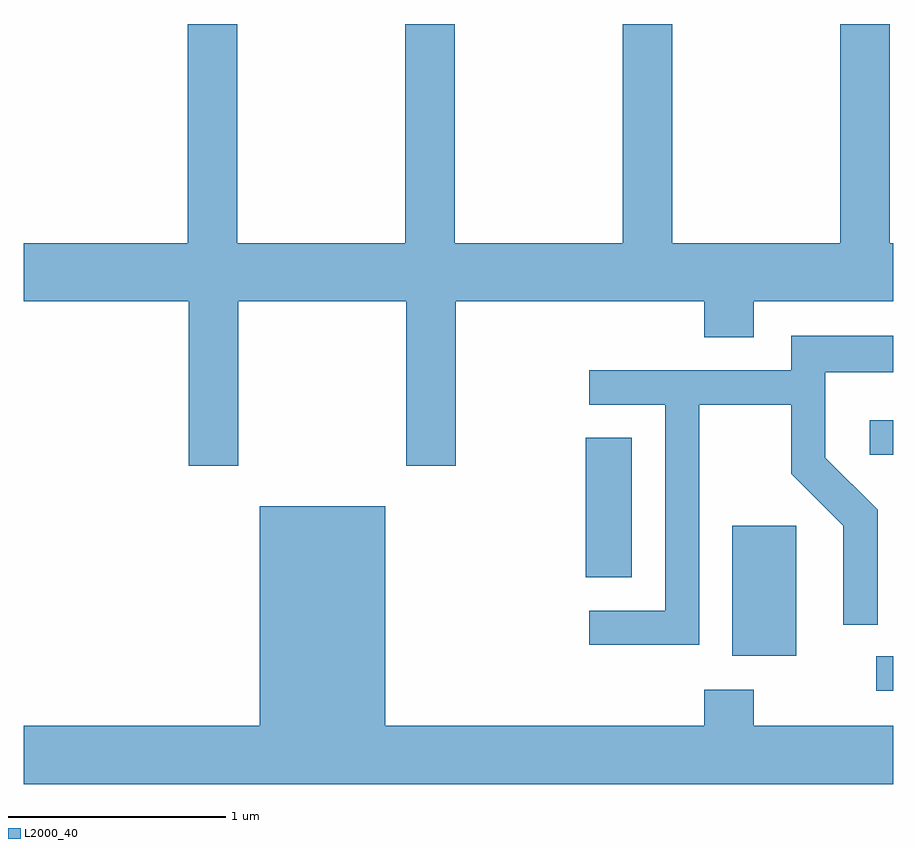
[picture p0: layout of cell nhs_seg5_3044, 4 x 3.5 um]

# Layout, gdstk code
import gdstk
lib = gdstk.Library(unit=1e-6, precision=1e-09)
def R(c, l, rs):  # rectangles x0, y0, x1, y1
    for r in rs: c.add(gdstk.rectangle(r[:2], r[2:], *l))
def P(c, l, *ps):  # polygons
    for p in ps: c.add(gdstk.Polygon(p, *l))
L2000_40 = (2000, 40)

nhs_seg5_3044 = lib.new_cell('nhs_seg5_3044')
R(nhs_seg5_3044, L2000_40, [(279.533,1455.006,279.611,1455.164), (278.871,1455.166,279.164,1455.764), (278.196,1455.526,278.409,1456.169), (279.503,1456.091,279.611,1456.249)])
P(nhs_seg5_3044, L2000_40, [(276.599,1456.796),(277.371,1456.796),(277.371,1456.041),(277.599,1456.041),(277.599,1456.796),(278.741,1456.796),(278.741,1456.631),(278.969,1456.631),(278.969,1456.796),(279.611,1456.796),(279.611,1457.064),(279.594,1457.064),(279.594,1458.072),(279.366,1458.072),(279.366,1457.064),(278.594,1457.064),(278.594,1458.072),(278.366,1458.072),(278.366,1457.064),(277.594,1457.064),(277.594,1458.072),(277.366,1458.072),(277.366,1457.064),(276.594,1457.064),(276.594,1458.072),(276.366,1458.072),(276.366,1457.064),(275.611,1457.064),(275.611,1456.796),(276.371,1456.796),(276.371,1456.041),(276.599,1456.041)],
  [(278.719,1456.321),(279.141,1456.321),(279.141,1456.004),(279.381,1455.764),(279.381,1455.308),(279.539,1455.308),(279.539,1455.837),(279.299,1456.077),(279.299,1456.471),(279.611,1456.471),(279.611,1456.639),(279.141,1456.639),(279.141,1456.479),(278.213,1456.479),(278.213,1456.321),(278.561,1456.321),(278.561,1455.374),(278.213,1455.374),(278.213,1455.216),(278.719,1455.216)],
  [(278.741,1455.009),(278.741,1454.844),(277.274,1454.844),(277.274,1455.854),(276.696,1455.854),(276.696,1454.844),(275.611,1454.844),(275.611,1454.576),(279.611,1454.576),(279.611,1454.844),(278.969,1454.844),(278.969,1455.009)])

lib.write_gds('nhs_seg5_3044.gds')
